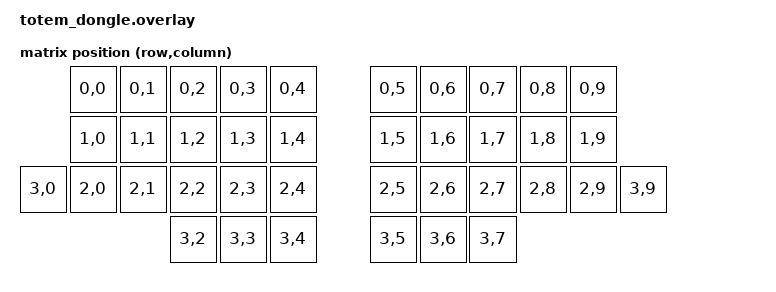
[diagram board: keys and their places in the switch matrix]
/*
 * Copyright (c) 2025 The ZMK Contributors
 *
 * SPDX-License-Identifier: MIT
 */

#include <dt-bindings/zmk/matrix_transform.h>
#include <physical_layouts.dtsi>

/ {
    chosen {
        zmk,kscan = &kscan0;
        // NOTE: NO zmk,matrix-transform here - ZMK Studio requirement
        zmk,physical-layout = &totem_layout;
    };

    // Mock kscan - dongle has no physical keys
    kscan0: kscan {
        compatible = "zmk,kscan-mock";
        columns = <10>;
        rows = <4>;
        exit-after;
    };

    // Matrix transform - copied from totem.dtsi
    default_transform: keymap_transform_0 {
        compatible = "zmk,matrix-transform";
        columns = <10>;
        rows = <4>;
//             | SW01  | SW02  | SW03  | SW04  | SW05  |  | SW05  | SW04  | SW03  | SW02  | SW01  |
//             | SW06  | SW07  | SW08  | SW09  | SW10  |  | SW10  | SW09  | SW08  | SW07  | SW06  |
//      | SW16 | SW11  | SW12  | SW13  | SW14  | SW15  |  | SW15  | SW14  | SW13  | SW12  | SW11  | SW16  |
//                             | SW17  | SW18  | SW19  |  | SW19  | SW18  | SW17  |
        map = <
                RC(0,0) RC(0,1) RC(0,2) RC(0,3) RC(0,4)    RC(0,5) RC(0,6) RC(0,7) RC(0,8) RC(0,9)
                RC(1,0) RC(1,1) RC(1,2) RC(1,3) RC(1,4)    RC(1,5) RC(1,6) RC(1,7) RC(1,8) RC(1,9)
        RC(3,0) RC(2,0) RC(2,1) RC(2,2) RC(2,3) RC(2,4)    RC(2,5) RC(2,6) RC(2,7) RC(2,8) RC(2,9) RC(3,9)
                                RC(3,2) RC(3,3) RC(3,4)    RC(3,5) RC(3,6) RC(3,7)
        >;
    };

    // Physical layout for ZMK Studio
    totem_layout: totem_layout {
        compatible = "zmk,physical-layout";
        display-name = "TOTEM";
        transform = <&default_transform>;
        kscan = <&kscan0>;

        keys  // 38 keys total
            // Row 0 (top row) - 10 keys
            = <&key_physical_attrs 100 100   0   0 0 0 0>  // Q (0)
            , <&key_physical_attrs 100 100 100   0 0 0 0>  // W (1)
            , <&key_physical_attrs 100 100 200   0 0 0 0>  // F (2)
            , <&key_physical_attrs 100 100 300   0 0 0 0>  // P (3)
            , <&key_physical_attrs 100 100 400   0 0 0 0>  // G (4)
            , <&key_physical_attrs 100 100 600   0 0 0 0>  // J (5)
            , <&key_physical_attrs 100 100 700   0 0 0 0>  // L (6)
            , <&key_physical_attrs 100 100 800   0 0 0 0>  // U (7)
            , <&key_physical_attrs 100 100 900   0 0 0 0>  // Y (8)
            , <&key_physical_attrs 100 100 1000  0 0 0 0>  // ; (9)

            // Row 1 (home row) - 10 keys
            , <&key_physical_attrs 100 100   0 100 0 0 0>  // A (10)
            , <&key_physical_attrs 100 100 100 100 0 0 0>  // R (11)
            , <&key_physical_attrs 100 100 200 100 0 0 0>  // S (12)
            , <&key_physical_attrs 100 100 300 100 0 0 0>  // T (13)
            , <&key_physical_attrs 100 100 400 100 0 0 0>  // D (14)
            , <&key_physical_attrs 100 100 600 100 0 0 0>  // H (15)
            , <&key_physical_attrs 100 100 700 100 0 0 0>  // N (16)
            , <&key_physical_attrs 100 100 800 100 0 0 0>  // E (17)
            , <&key_physical_attrs 100 100 900 100 0 0 0>  // I (18)
            , <&key_physical_attrs 100 100 1000 100 0 0 0> // O (19)

            // Row 2 (bottom row) - 12 keys (includes outer pinky keys)
            , <&key_physical_attrs 100 100 -100 200 0 0 0> // Q outer left (20)
            , <&key_physical_attrs 100 100   0 200 0 0 0>  // Z (21)
            , <&key_physical_attrs 100 100 100 200 0 0 0>  // X (22)
            , <&key_physical_attrs 100 100 200 200 0 0 0>  // C (23)
            , <&key_physical_attrs 100 100 300 200 0 0 0>  // V (24)
            , <&key_physical_attrs 100 100 400 200 0 0 0>  // B (25)
            , <&key_physical_attrs 100 100 600 200 0 0 0>  // K (26)
            , <&key_physical_attrs 100 100 700 200 0 0 0>  // M (27)
            , <&key_physical_attrs 100 100 800 200 0 0 0>  // , (28)
            , <&key_physical_attrs 100 100 900 200 0 0 0>  // . (29)
            , <&key_physical_attrs 100 100 1000 200 0 0 0> // / (30)
            , <&key_physical_attrs 100 100 1100 200 0 0 0> // \ outer right (31)

            // Row 3 (thumb cluster) - 6 keys
            , <&key_physical_attrs 100 100 200 300 0 0 0>  // DEL left thumb (32)
            , <&key_physical_attrs 100 100 300 300 0 0 0>  // TAB left thumb (33)
            , <&key_physical_attrs 100 100 400 300 0 0 0>  // SPC left thumb (34)
            , <&key_physical_attrs 100 100 600 300 0 0 0>  // RET right thumb (35)
            , <&key_physical_attrs 100 100 700 300 0 0 0>  // ESC right thumb (36)
            , <&key_physical_attrs 100 100 800 300 0 0 0>  // BSPC right thumb (37)
            ;
    };
};
